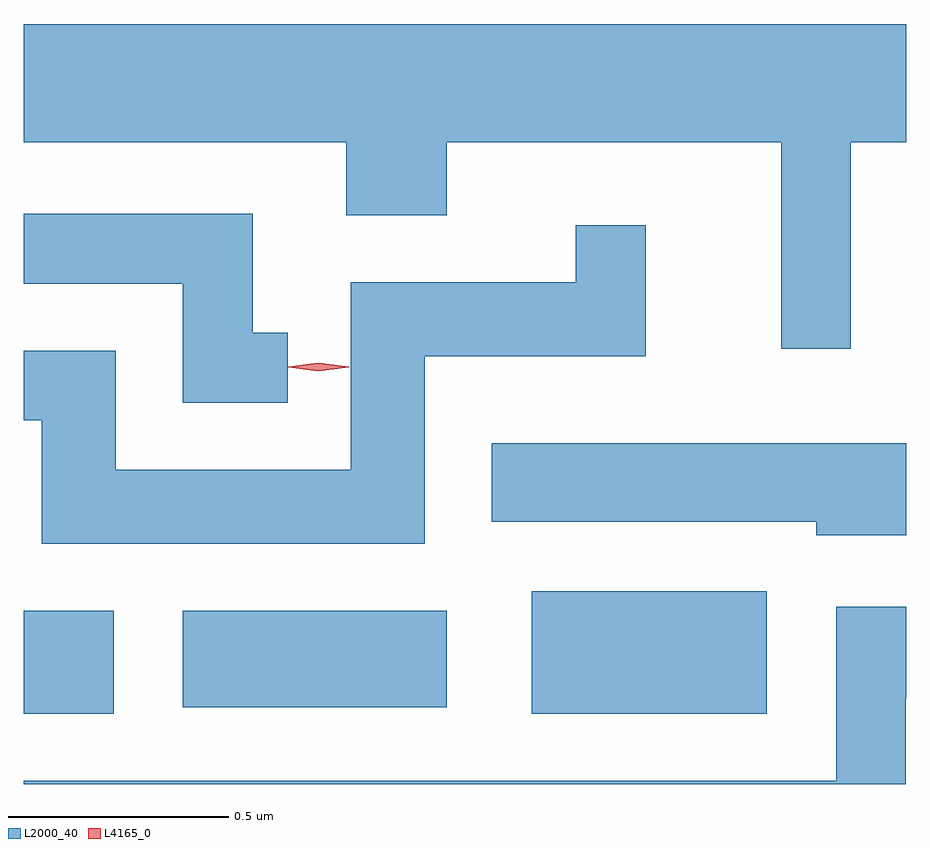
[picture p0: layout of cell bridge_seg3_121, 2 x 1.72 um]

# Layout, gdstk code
import gdstk
lib = gdstk.Library(unit=1e-6, precision=1e-09)
def R(c, l, rs):  # rectangles x0, y0, x1, y1
    for r in rs: c.add(gdstk.rectangle(r[:2], r[2:], *l))
def P(c, l, *ps):  # polygons
    for p in ps: c.add(gdstk.Polygon(p, *l))
L2000_40 = (2000, 40)
L4165_0 = (4165, 0)

bridge_seg3_121 = lib.new_cell('bridge_seg3_121')
R(bridge_seg3_121, L2000_40, [(1071.13,1237.941,1071.334,1238.174), (1072.281,1237.941,1072.814,1238.219), (1071.491,1237.956,1072.089,1238.174)])
P(bridge_seg3_121, L2000_40, [(1073.004,1239.236),(1073.13,1239.236),(1073.13,1239.504),(1071.13,1239.504),(1071.13,1239.236),(1071.861,1239.236),(1071.861,1239.071),(1072.089,1239.071),(1072.089,1239.236),(1072.846,1239.236),(1072.846,1238.768),(1073.004,1238.768)],
  [(1071.728,1238.804),(1071.649,1238.804),(1071.649,1239.074),(1071.13,1239.074),(1071.13,1238.916),(1071.491,1238.916),(1071.491,1238.646),(1071.728,1238.646)],
  [(1072.039,1238.751),(1072.539,1238.751),(1072.539,1239.048),(1072.381,1239.048),(1072.381,1238.919),(1071.871,1238.919),(1071.871,1238.494),(1071.339,1238.494),(1071.339,1238.764),(1071.13,1238.764),(1071.13,1238.606),(1071.171,1238.606),(1071.171,1238.326),(1072.039,1238.326)],
  [(1073.13,1238.554),(1072.191,1238.554),(1072.191,1238.376),(1072.926,1238.376),(1072.926,1238.346),(1073.13,1238.346)],
  [(1073.129,1237.976),(1073.13,1237.976),(1073.13,1238.184),(1072.971,1238.184),(1072.971,1237.789),(1071.13,1237.789),(1071.13,1237.782),(1073.129,1237.782)])
P(bridge_seg3_121, L4165_0, [(1071.798,1238.717),(1071.729,1238.726),(1071.729,1238.727),(1071.729,1238.727),(1071.798,1238.737),(1071.868,1238.727),(1071.868,1238.727),(1071.868,1238.726)])

lib.write_gds('bridge_seg3_121.gds')
